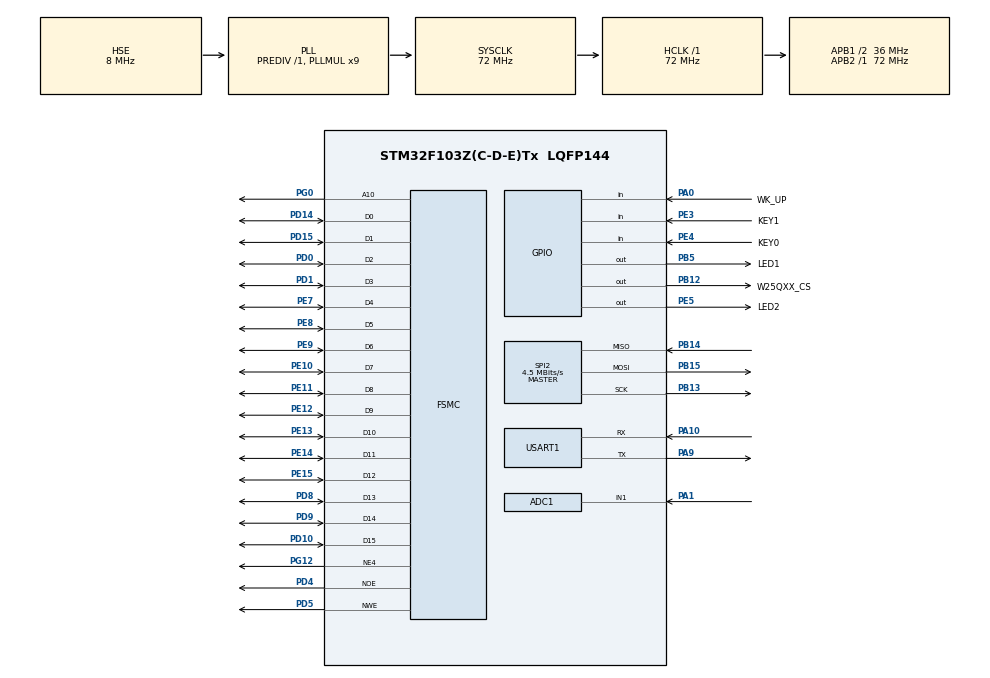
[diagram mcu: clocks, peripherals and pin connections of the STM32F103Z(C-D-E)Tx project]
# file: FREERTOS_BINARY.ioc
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ADC1.Channel-3\#ChannelRegularConversion=ADC_CHANNEL_1
ADC1.ExternalTrigConv=ADC_EXTERNALTRIGCONV_T3_TRGO
ADC1.NbrOfConversionFlag=1
ADC1.Rank-3\#ChannelRegularConversion=1
ADC1.SamplingTime-3\#ChannelRegularConversion=ADC_SAMPLETIME_1CYCLE_5
ADC1.master=1
FREERTOS.BinarySemaphores01=BinSem_DataReady,Dynamic,NULL
FREERTOS.INCLUDE_xEventGroupSetBitFromISR=1
FREERTOS.INCLUDE_xTaskAbortDelay=1
FREERTOS.INCLUDE_xTaskGetCurrentTaskHandle=1
FREERTOS.INCLUDE_xTaskGetHandle=1
FREERTOS.Queues01=Queue_Keys,10,uint8_t,0,Dynamic,NULL,NULL
FREERTOS.Tasks01=Task_Show,24,128,AppTask_Show,Default,NULL,Dynamic,NULL,NULL
FSMC.AddressSetupTime4=6
FSMC.BusTurnAroundDuration4=0
FSMC.DataSetupTime4=26
FSMC.ExtendedAddressSetupTime4=3
FSMC.ExtendedBusTurnAroundDuration4=0
FSMC.ExtendedDataSetupTime4=6
FSMC.ExtendedMode4=FSMC_EXTENDED_MODE_ENABLE
Mcu.Family=STM32F1
Mcu.Name=STM32F103Z(C-D-E)Tx
Mcu.Package=LQFP144
NVIC.ADC1_2_IRQn=true\:5\:0\:true\:false\:true\:true\:true\:true\:true
NVIC.PriorityGroup=NVIC_PRIORITYGROUP_4
NVIC.RTC_Alarm_IRQn=true\:5\:0\:false\:false\:true\:true\:true\:true\:true
NVIC.RTC_IRQn=true\:5\:0\:false\:false\:true\:true\:true\:true\:true
NVIC.TIM6_IRQn=true\:15\:0\:false\:false\:true\:false\:false\:true\:true
NVIC.TimeBase=TIM6_IRQn
NVIC.TimeBaseIP=TIM6
NVIC.USART1_IRQn=true\:5\:0\:false\:false\:true\:true\:true\:true\:true
OSC_IN.Mode=HSE-External-Oscillator
OSC_IN.Signal=RCC_OSC_IN
OSC_OUT.Mode=HSE-External-Oscillator
OSC_OUT.Signal=RCC_OSC_OUT
PA0-WKUP.GPIO_Label=WK_UP
PA0-WKUP.GPIO_PuPd=GPIO_PULLDOWN
PA0-WKUP.Signal=GPIO_Input
PA1.Signal=ADCx_IN1
PA10.Mode=Asynchronous
PA10.Signal=USART1_RX
PA13.Mode=Serial_Wire
PA13.Signal=SYS_JTMS-SWDIO
PA14.Mode=Serial_Wire
PA14.Signal=SYS_JTCK-SWCLK
PA9.Mode=Asynchronous
PA9.Signal=USART1_TX
PB12.GPIO_Label=W25QXX_CS
PB12.GPIO_PuPd=GPIO_PULLUP
PB12.GPIO_Speed=GPIO_SPEED_FREQ_HIGH
PB12.PinState=GPIO_PIN_SET
PB12.Signal=GPIO_Output
PB13.Mode=Full_Duplex_Master
PB13.Signal=SPI2_SCK
PB14.Mode=Full_Duplex_Master
PB14.Signal=SPI2_MISO
PB15.Mode=Full_Duplex_Master
PB15.Signal=SPI2_MOSI
PB5.GPIO_Label=LED1
PB5.GPIO_Speed=GPIO_SPEED_FREQ_HIGH
PB5.Signal=GPIO_Output
PC14-OSC32_IN.Mode=LSE-External-Oscillator
PC14-OSC32_IN.Signal=RCC_OSC32_IN
PC15-OSC32_OUT.Mode=LSE-External-Oscillator
PC15-OSC32_OUT.Signal=RCC_OSC32_OUT
PD0.Signal=FSMC_D2_DA2
PD1.Signal=FSMC_D3_DA3
PD10.Signal=FSMC_D15_DA15
PD14.Signal=FSMC_D0_DA0
PD15.Signal=FSMC_D1_DA1
PD4.Signal=FSMC_NOE
PD5.Signal=FSMC_NWE
PD8.Signal=FSMC_D13_DA13
PD9.Signal=FSMC_D14_DA14
PE10.Signal=FSMC_D7_DA7
PE11.Signal=FSMC_D8_DA8
PE12.Signal=FSMC_D9_DA9
PE13.Signal=FSMC_D10_DA10
PE14.Signal=FSMC_D11_DA11
PE15.Signal=FSMC_D12_DA12
PE3.GPIO_Label=KEY1
PE3.GPIO_PuPd=GPIO_PULLUP
PE3.Signal=GPIO_Input
PE4.GPIO_Label=KEY0
PE4.GPIO_PuPd=GPIO_PULLUP
PE4.Signal=GPIO_Input
PE5.GPIO_Label=LED2
PE5.GPIO_Speed=GPIO_SPEED_FREQ_HIGH
PE5.Signal=GPIO_Output
PE7.Signal=FSMC_D4_DA4
PE8.Signal=FSMC_D5_DA5
PE9.Signal=FSMC_D6_DA6
PG0.Signal=FSMC_A10
PG12.Mode=NorPsramChipSelect4_4
PG12.Signal=FSMC_NE4
ProjectManager.HeapSize=0x200
ProjectManager.StackSize=0x400
ProjectManager.TargetToolchain=STM32CubeIDE
RCC.AHBFreq_Value=72000000
RCC.APB1CLKDivider=RCC_HCLK_DIV2
RCC.APB1Freq_Value=36000000
RCC.APB1TimFreq_Value=72000000
RCC.APB2Freq_Value=72000000
RCC.APB2TimFreq_Value=72000000
RCC.HCLKFreq_Value=72000000
RCC.PLLMUL=RCC_PLL_MUL9
RCC.PLLSourceVirtual=RCC_PLLSOURCE_HSE
RCC.RTCClockSelection=RCC_RTCCLKSOURCE_LSE
RCC.SYSCLKFreq_VALUE=72000000
RCC.SYSCLKSource=RCC_SYSCLKSOURCE_PLLCLK
RCC.USBFreq_Value=72000000
RTC.AutoPrediv=RTC_AUTO_1_SECOND
RTC.Format=RTC_FORMAT_BIN
SH.ADCx_IN1.0=ADC1_IN1,IN1
SH.FSMC_A10.0=FSMC_A10,A10_4
SH.FSMC_D0_DA0.0=FSMC_D0,16b-d4
SH.FSMC_D10_DA10.0=FSMC_D10,16b-d4
SH.FSMC_D11_DA11.0=FSMC_D11,16b-d4
SH.FSMC_D12_DA12.0=FSMC_D12,16b-d4
SH.FSMC_D13_DA13.0=FSMC_D13,16b-d4
SH.FSMC_D14_DA14.0=FSMC_D14,16b-d4
SH.FSMC_D15_DA15.0=FSMC_D15,16b-d4
SH.FSMC_D1_DA1.0=FSMC_D1,16b-d4
SH.FSMC_D2_DA2.0=FSMC_D2,16b-d4
SH.FSMC_D3_DA3.0=FSMC_D3,16b-d4
SH.FSMC_D4_DA4.0=FSMC_D4,16b-d4
SH.FSMC_D5_DA5.0=FSMC_D5,16b-d4
SH.FSMC_D6_DA6.0=FSMC_D6,16b-d4
SH.FSMC_D7_DA7.0=FSMC_D7,16b-d4
SH.FSMC_D8_DA8.0=FSMC_D8,16b-d4
SH.FSMC_D9_DA9.0=FSMC_D9,16b-d4
SH.FSMC_NOE.0=FSMC_NOE,Lcd4
SH.FSMC_NWE.0=FSMC_NWE,Lcd4
SPI2.BaudRatePrescaler=SPI_BAUDRATEPRESCALER_8
SPI2.CLKPhase=SPI_PHASE_2EDGE
SPI2.CLKPolarity=SPI_POLARITY_HIGH
SPI2.CRCCalculation=SPI_CRCCALCULATION_DISABLE
SPI2.CalculateBaudRate=4.5 MBits/s
SPI2.Direction=SPI_DIRECTION_2LINES
SPI2.Mode=SPI_MODE_MASTER
SPI2.VirtualType=VM_MASTER
TIM3.Period=4999
TIM3.Prescaler=7199
TIM3.TIM_MasterOutputTrigger=TIM_TRGO_UPDATE
USART1.VirtualMode=VM_ASYNC
VP_FREERTOS_VS_CMSIS_V2.Mode=CMSIS_V2
VP_RTC_VS_RTC_Activate.Mode=RTC_Enabled
VP_SYS_VS_tim6.Mode=TIM6
VP_TIM3_VS_ClockSourceINT.Mode=Internal
board=custom

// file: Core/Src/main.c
/* USER CODE BEGIN Header */
/**
  ******************************************************************************
  * @file           : main.c
  * @brief          : Main program body
  ******************************************************************************
  * @attention
  *
  * Copyright (c) 2023 STMicroelectronics.
  * All rights reserved.
  *
  * This software is licensed under terms that can be found in the LICENSE file
  * in the root directory of this software component.
  * If no LICENSE file comes with this software, it is provided AS-IS.
  *
  ******************************************************************************
  */
/* USER CODE END Header */
#include "main.h"
#include "cmsis_os.h"
#include "adc.h"
#include "rtc.h"
#include "spi.h"
#include "tim.h"
#include "usart.h"
#include "gpio.h"
#include "fsmc.h"

/* USER CODE BEGIN Includes */
#include "stdio.h"
#include "lcd.h"
#include "w25qxx.h"
#include <string.h>
/* USER CODE END Includes */

void SystemClock_Config(void);
void MX_FREERTOS_Init(void);

int main(void)
{
  /* USER CODE BEGIN 1 */
	int x = 0,FLASH_SIZE,id;
	u8 lcd_id[12],datatemp[20];						//存放LCD ID字符�????????????????
  /* USER CODE END 1 */

  /* MCU Configuration--------------------------------------------------------*/

  /* Reset of all peripherals, Initializes the Flash interface and the Systick. */
  HAL_Init();

  /* Configure the system clock */
  SystemClock_Config();

  /* Initialize all configured peripherals */
  MX_GPIO_Init();
  MX_USART1_UART_Init();
  MX_FSMC_Init();
  MX_SPI2_Init();
  MX_RTC_Init();
  MX_ADC1_Init();
  MX_TIM3_Init();
  /* USER CODE BEGIN 2 */
	LCD_Init();
	POINT_COLOR=RED;     				//画笔颜色：红�????????????????
//	sprintf((char*)lcd_id,"LCD ID:%04X",lcddev.id);//将LCD ID打印到lcd_id数组�????????????????
	LCD_Clear(WHITE);
//	POINT_COLOR=RED;
	HAL_ADC_Start_IT(&hadc1); //以中断方式启动ADC
	HAL_TIM_Base_Start(&htim3); //启动定时器
	LCD_ShowString(30,40,210,12,12,"Demo5_1:Binary Semaphore");

  /* USER CODE END 2 */

  /* Init scheduler */
  osKernelInitialize();  /* Call init function for freertos objects (in freertos.c) */
  MX_FREERTOS_Init();

  /* Start scheduler */
  osKernelStart();
  /* We should never get here as control is now taken by the scheduler */
  /* Infinite loop */
  /* USER CODE BEGIN WHILE */
	while (1)
	{

		osDelay(500);
		HAL_GPIO_TogglePin(LED1_GPIO_Port,LED1_Pin);
    /* USER CODE END WHILE */

  }
}

void SystemClock_Config(void)
{
  RCC_OscInitTypeDef RCC_OscInitStruct = {0};
  RCC_ClkInitTypeDef RCC_ClkInitStruct = {0};
  RCC_PeriphCLKInitTypeDef PeriphClkInit = {0};

  /** Initializes the RCC Oscillators according to the specified parameters
  * in the RCC_OscInitTypeDef structure.
  */
  RCC_OscInitStruct.OscillatorType = RCC_OSCILLATORTYPE_HSE|RCC_OSCILLATORTYPE_LSE;
  RCC_OscInitStruct.HSEState = RCC_HSE_ON;
  RCC_OscInitStruct.HSEPredivValue = RCC_HSE_PREDIV_DIV1;
  RCC_OscInitStruct.LSEState = RCC_LSE_ON;
  RCC_OscInitStruct.HSIState = RCC_HSI_ON;
  RCC_OscInitStruct.PLL.PLLState = RCC_PLL_ON;
  RCC_OscInitStruct.PLL.PLLSource = RCC_PLLSOURCE_HSE;
  RCC_OscInitStruct.PLL.PLLMUL = RCC_PLL_MUL9;
  if (HAL_RCC_OscConfig(&RCC_OscInitStruct) != HAL_OK)
  {
    Error_Handler();
  }

  /** Initializes the CPU, AHB and APB buses clocks
  */
  RCC_ClkInitStruct.ClockType = RCC_CLOCKTYPE_HCLK|RCC_CLOCKTYPE_SYSCLK
                              |RCC_CLOCKTYPE_PCLK1|RCC_CLOCKTYPE_PCLK2;
  RCC_ClkInitStruct.SYSCLKSource = RCC_SYSCLKSOURCE_PLLCLK;
  RCC_ClkInitStruct.AHBCLKDivider = RCC_SYSCLK_DIV1;
  RCC_ClkInitStruct.APB1CLKDivider = RCC_HCLK_DIV2;
  RCC_ClkInitStruct.APB2CLKDivider = RCC_HCLK_DIV1;

  if (HAL_RCC_ClockConfig(&RCC_ClkInitStruct, FLASH_LATENCY_2) != HAL_OK)
  {
    Error_Handler();
  }
  PeriphClkInit.PeriphClockSelection = RCC_PERIPHCLK_RTC|RCC_PERIPHCLK_ADC;
  PeriphClkInit.RTCClockSelection = RCC_RTCCLKSOURCE_LSE;
  PeriphClkInit.AdcClockSelection = RCC_ADCPCLK2_DIV2;
  if (HAL_RCCEx_PeriphCLKConfig(&PeriphClkInit) != HAL_OK)
  {
    Error_Handler();
  }
}

/* USER CODE BEGIN 4 */

void delay_us(uint32_t udelay)
{
  uint32_t startval,tickn,delays,wait;

  startval = SysTick->VAL;
  tickn = HAL_GetTick();
  //sysc = 72000;  //SystemCoreClock / (1000U / uwTickFreq);
  delays =udelay * 72; //sysc / 1000 * udelay;
  if(delays > startval)
    {
      while(HAL_GetTick() == tickn)
        {

        }
      wait = 72000 + startval - delays;
      while(wait < SysTick->VAL)
        {

        }
    }
  else
    {
      wait = startval - delays;
      while(wait < SysTick->VAL && HAL_GetTick() == tickn)
        {

        }
    }
}

void delay_ms(uint32_t udelay)
{
	HAL_Delay(udelay);
	//osDelay(udelay);
}
/* USER CODE END 4 */

void HAL_TIM_PeriodElapsedCallback(TIM_HandleTypeDef *htim)
{
  if (htim->Instance == TIM6) {
    HAL_IncTick();
  }
}

void Error_Handler(void)
{
  __disable_irq();
  while (1)
  {
  }
}

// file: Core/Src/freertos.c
/* USER CODE BEGIN Header */
/**
  ******************************************************************************
  * File Name          : freertos.c
  * Description        : Code for freertos applications
  ******************************************************************************
  * @attention
  *
  * Copyright (c) 2023 STMicroelectronics.
  * All rights reserved.
  *
  * This software is licensed under terms that can be found in the LICENSE file
  * in the root directory of this software component.
  * If no LICENSE file comes with this software, it is provided AS-IS.
  *
  ******************************************************************************
  */
/* USER CODE END Header */

#include "FreeRTOS.h"
#include "task.h"
#include "main.h"
#include "cmsis_os.h"

/* USER CODE BEGIN Includes */
#include "lcd.h"
#include "adc.h"
#include "gpio.h"
#include "queue.h"
#include "semphr.h"
/* USER CODE END Includes */

/* USER CODE BEGIN Variables */
uint32_t adc_value;
/* USER CODE END Variables */
/* Definitions for Task_Show */
osThreadId_t Task_ShowHandle;
const osThreadAttr_t Task_Show_attributes = {
  .name = "Task_Show",
  .stack_size = 128 * 4,
  .priority = (osPriority_t) osPriorityNormal,
};
/* Definitions for Queue_Keys */
osMessageQueueId_t Queue_KeysHandle;
const osMessageQueueAttr_t Queue_Keys_attributes = {
  .name = "Queue_Keys"
};
/* Definitions for BinSem_DataReady */
osSemaphoreId_t BinSem_DataReadyHandle;
const osSemaphoreAttr_t BinSem_DataReady_attributes = {
  .name = "BinSem_DataReady"
};

void AppTask_Show(void *argument);

void MX_FREERTOS_Init(void); /* (MISRA C 2004 rule 8.1) */

void MX_FREERTOS_Init(void) {

  /* Create the semaphores(s) */
  /* creation of BinSem_DataReady */
  BinSem_DataReadyHandle = osSemaphoreNew(1, 1, &BinSem_DataReady_attributes);

  /* Create the queue(s) */
  /* creation of Queue_Keys */
  Queue_KeysHandle = osMessageQueueNew (10, sizeof(uint8_t), &Queue_Keys_attributes);

  /* Create the thread(s) */
  /* creation of Task_Show */
  Task_ShowHandle = osThreadNew(AppTask_Show, NULL, &Task_Show_attributes);

}

void AppTask_Show(void *argument)
{
  /* USER CODE BEGIN AppTask_Show */
	LCD_ShowString(30,60,210,12,12,"ADC Value = ");
	LCD_ShowString(30,80,210,12,12,"Voltage(mV) = ");
  /* Infinite loop */
	for(;;)
	{
		if(xSemaphoreTake(BinSem_DataReadyHandle,portMAX_DELAY) == pdTRUE)
		{
			uint32_t tmpValue = adc_value;
			LCD_ShowNum(150,60,tmpValue,4,12);
			uint32_t Volt = 3300 * tmpValue;
			Volt = Volt >> 12;
			LCD_ShowNum(150,80,Volt,4,12);
		}
	}
  /* USER CODE END AppTask_Show */
}

/* USER CODE BEGIN Application */
void HAL_ADC_ConvCpltCallback(ADC_HandleTypeDef* hadc)
{
	if(hadc->Instance == ADC1)
	{
		adc_value = HAL_ADC_GetValue(hadc);
		BaseType_t highTaskWoken = pdFALSE;
		if(BinSem_DataReadyHandle != NULL)
		{
			xSemaphoreGiveFromISR(BinSem_DataReadyHandle,&highTaskWoken);
			portYIELD_FROM_ISR(highTaskWoken);
		}
	}
}
/* USER CODE END Application */
